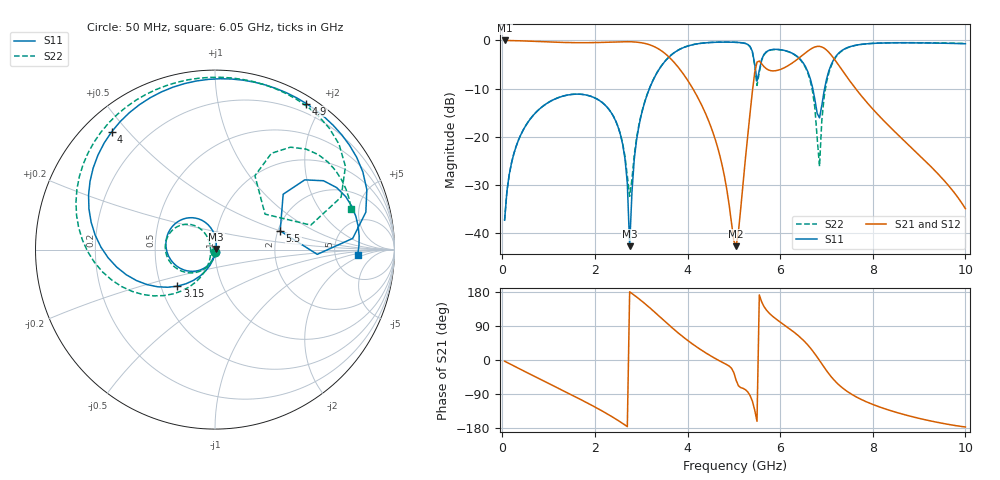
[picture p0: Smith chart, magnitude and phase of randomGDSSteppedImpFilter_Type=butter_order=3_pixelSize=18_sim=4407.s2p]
! freq	dB(S11)	phase(S11)	dB(S12)	phase(S12)
!  dB(S21)	phase(S21)	dB(S22)	phase(S22)
!S-par simulation data
#  GHz  S  DB  R 50
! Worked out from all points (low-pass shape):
!   200 points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, 50 MHz to 10 GHz, reference 50 ohm
!   highest |S21| = -0.01 dB at 50 MHz (marker M1); lowest = -42.7 dB at 5.05 GHz (marker M2)
!   |S21| within 3 dB of the highest: start of sweep to 3.549 GHz; 6.491 GHz to 7.1 GHz (609.4 MHz wide, 8.97 % of centre)
!   lowest |S11| = -42.7 dB at 2.75 GHz (marker M3), VSWR 1.01, Z = 50.7 + j0.324 ohm
!   |S11| at or under -10 dB: start of sweep to 3.178 GHz; 6.704 GHz to 6.959 GHz (255 MHz wide, 3.73 % of centre)
!   |S22| runs from -37.3 to -0.3 dB; largest |S21 - S12| = 0
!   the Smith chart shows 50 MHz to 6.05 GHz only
!   S11 on the Smith chart (normalised r, x): 50 MHz: 1.00, -0.03; 3.15 GHz: 0.61, -0.27; 4 GHz: 0.08, +0.45; 4.9 GHz: 0.09, +1.80; 5.5 GHz: 2.06, +0.50; 6.05 GHz: 8.50, -1.48
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0.05  -37.28 -92.9  -0.01 -3.2  -0.01 -3.2  -37.27 -92.6
0.5  -17.76 -122.9  -0.12 -31.2  -0.12 -31.2  -17.75 -120.4
1.75  -11.23 156.8  -0.48 -107.9  -0.48 -107.9  -11.22 166.6
2.55  -19.50 97.1  -0.28 -163.4  -0.28 -163.4  -19.39 121.7
2.7  -29.66 77.7  -0.27 -175.8  -0.27 -175.8  -28.12 134.7
2.75  -42.66 25.7  -0.27 179.9  -0.27 179.9  -32.33 176.4
2.85  -24.59 -101.3  -0.31 171.0  -0.31 171.0  -23.78 -117.3
3.15  -10.67 -135.9  -0.80 141.4  -0.80 141.4  -10.59 -128.8
3.4  -5.79 -164.2  -1.92 114.3  -1.92 114.3  -5.75 -153.1
4  -1.18 131.3  -8.22 51.9  -8.22 51.9  -1.16 147.1
4.9  -0.36 58.0  -34.20 -16.2  -34.20 -16.2  -0.35 77.1
5.05  -0.39 46.3  -42.65 -53.7  -42.65 -53.7  -0.40 65.6
5.35  -1.25 14.0  -15.09 -93.6  -15.09 -93.6  -1.29 32.5
5.5  -8.45 16.0  -4.49 -161.8  -4.49 -161.8  -9.33 35.3
5.65  -2.90 32.4  -5.42 141.3  -5.42 141.3  -2.99 53.6
6.05  -1.99 -2.3  -5.84 95.8  -5.84 95.8  -2.02 16.7
6.7  -9.78 -51.3  -1.57 24.4  -1.57 24.4  -10.57 -48.3
6.85  -16.05 -2.3  -1.23 -1.3  -1.23 -1.3  -26.11 41.2
6.95  -10.44 28.6  -1.60 -19.2  -1.60 -19.2  -11.70 71.4
7.15  -4.09 15.8  -3.62 -50.9  -3.62 -50.9  -4.28 45.3
8.35  -0.51 -57.1  -17.74 -132.3  -17.74 -132.3  -0.50 -37.1
10  -0.69 -114.7  -34.89 -176.8  -34.89 -176.8  -0.64 -98.0
